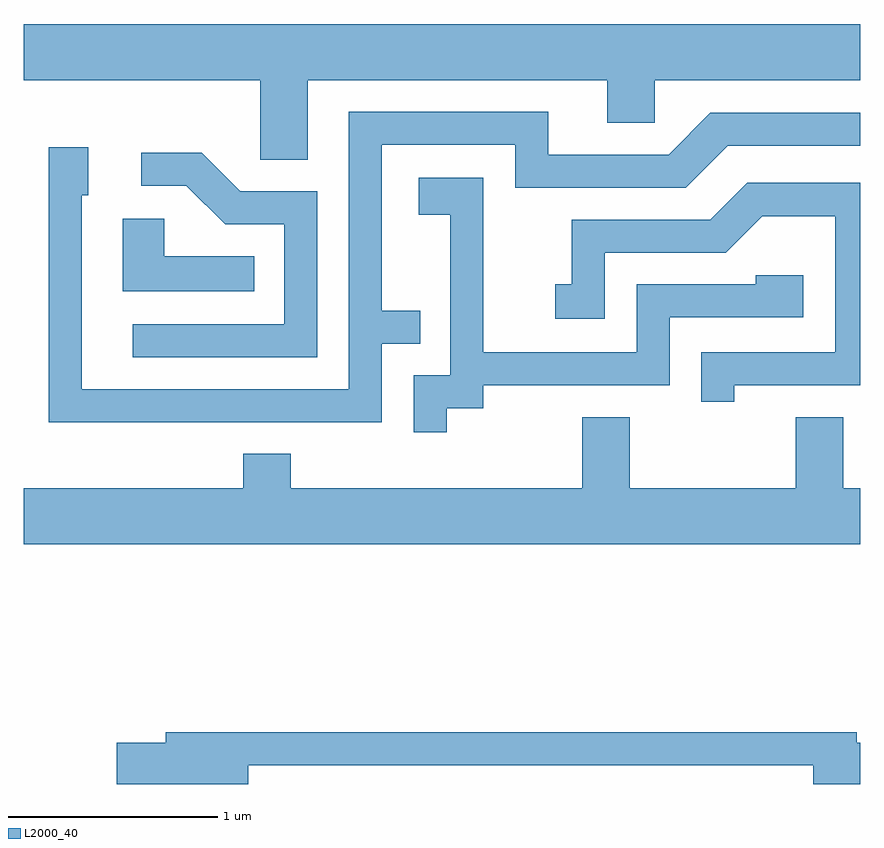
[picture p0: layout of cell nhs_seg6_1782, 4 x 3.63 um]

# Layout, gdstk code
import gdstk
lib = gdstk.Library(unit=1e-6, precision=1e-09)
def P(c, l, *ps):  # polygons
    for p in ps: c.add(gdstk.Polygon(p, *l))
L2000_40 = (2000, 40)

nhs_seg6_1782 = lib.new_cell('nhs_seg6_1782')
P(nhs_seg6_1782, L2000_40, [(240.969,1565.576),(242.401,1565.576),(242.401,1565.371),(242.629,1565.371),(242.629,1565.576),(243.611,1565.576),(243.611,1565.844),(239.611,1565.844),(239.611,1565.576),(240.741,1565.576),(240.741,1565.196),(240.969,1565.196)],
  [(241.324,1564.316),(241.508,1564.316),(241.508,1564.474),(241.324,1564.474),(241.324,1565.266),(241.961,1565.266),(241.961,1565.061),(242.777,1565.061),(242.977,1565.261),(243.611,1565.261),(243.611,1565.419),(242.894,1565.419),(242.694,1565.219),(242.119,1565.219),(242.119,1565.424),(241.166,1565.424),(241.166,1564.099),(239.889,1564.099),(239.889,1565.026),(239.919,1565.026),(239.919,1565.254),(239.731,1565.254),(239.731,1563.941),(241.324,1563.941)],
  [(241.014,1565.044),(240.647,1565.044),(240.462,1565.229),(240.173,1565.229),(240.173,1565.071),(240.389,1565.071),(240.574,1564.886),(240.856,1564.886),(240.856,1564.409),(240.133,1564.409),(240.133,1564.251),(241.014,1564.251)],
  [(241.634,1564.006),(241.809,1564.006),(241.809,1564.116),(242.699,1564.116),(242.699,1564.441),(243.339,1564.441),(243.339,1564.644),(243.111,1564.644),(243.111,1564.599),(242.541,1564.599),(242.541,1564.274),(241.809,1564.274),(241.809,1565.109),(241.501,1565.109),(241.501,1564.931),(241.651,1564.931),(241.651,1564.164),(241.476,1564.164),(241.476,1563.893),(241.634,1563.893)],
  [(243.009,1564.116),(243.611,1564.116),(243.611,1565.084),(243.069,1565.084),(242.894,1564.909),(242.231,1564.909),(242.231,1564.599),(242.153,1564.599),(242.153,1564.436),(242.389,1564.436),(242.389,1564.751),(242.967,1564.751),(243.142,1564.926),(243.491,1564.926),(243.491,1564.274),(242.851,1564.274),(242.851,1564.038),(243.009,1564.038)],
  [(240.713,1564.734),(240.284,1564.734),(240.284,1564.914),(240.086,1564.914),(240.086,1564.566),(240.713,1564.566)],
  [(243.611,1563.624),(243.529,1563.624),(243.529,1563.964),(243.301,1563.964),(243.301,1563.624),(242.509,1563.624),(242.509,1563.964),(242.281,1563.964),(242.281,1563.624),(240.889,1563.624),(240.889,1563.789),(240.661,1563.789),(240.661,1563.624),(239.611,1563.624),(239.611,1563.356),(243.611,1563.356)],
  [(240.684,1562.301),(243.386,1562.301),(243.386,1562.211),(243.611,1562.211),(243.611,1562.409),(243.594,1562.409),(243.594,1562.459),(240.291,1562.459),(240.291,1562.409),(240.056,1562.409),(240.056,1562.211),(240.684,1562.211)])

lib.write_gds('nhs_seg6_1782.gds')
